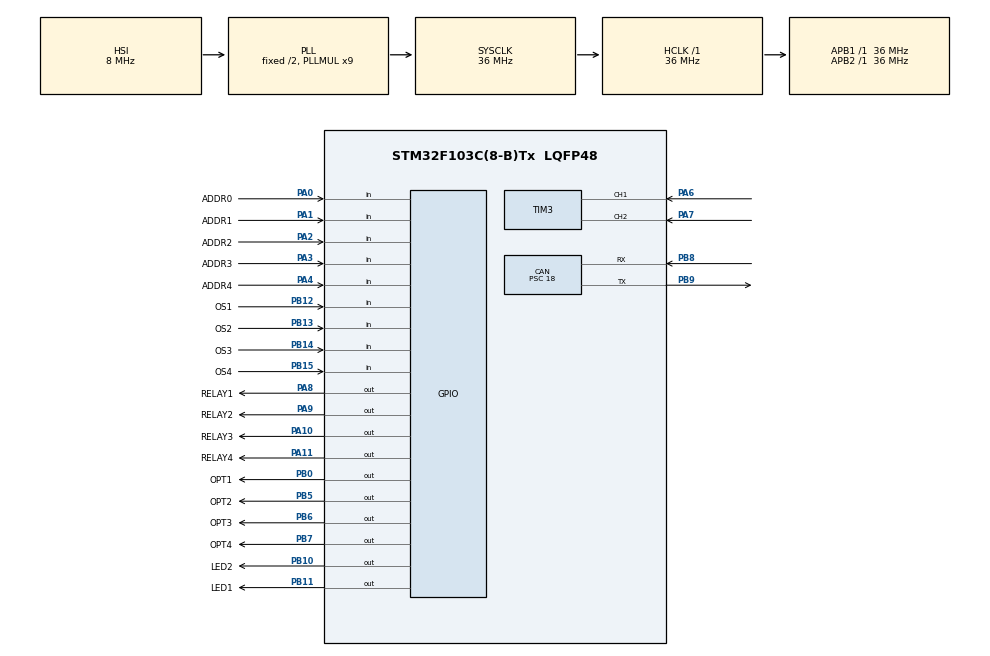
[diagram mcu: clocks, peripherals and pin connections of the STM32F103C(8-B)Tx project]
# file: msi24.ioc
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CAN.ABOM=ENABLE
CAN.AWUM=ENABLE
CAN.BS1=CAN_BS1_13TQ
CAN.BS2=CAN_BS2_2TQ
CAN.CalculateBaudRate=125000
CAN.CalculateTimeBit=8000
CAN.CalculateTimeQuantum=500.0
CAN.Mode=CAN_MODE_SILENT
CAN.Prescaler=18
CAN.TXFP=ENABLE
Mcu.Family=STM32F1
Mcu.Name=STM32F103C(8-B)Tx
Mcu.Package=LQFP48
NVIC.CAN1_RX1_IRQn=true\:0\:0\:false\:false\:true\:true\:true\:true
NVIC.CAN1_SCE_IRQn=true\:0\:0\:false\:false\:true\:true\:true\:true
NVIC.PriorityGroup=NVIC_PRIORITYGROUP_4
NVIC.USB_LP_CAN1_RX0_IRQn=true\:0\:0\:false\:false\:true\:true\:true\:true
PA0-WKUP.GPIO_Label=ADDR0
PA0-WKUP.GPIO_PuPd=GPIO_PULLUP
PA0-WKUP.Signal=GPIO_Input
PA1.GPIO_Label=ADDR1
PA1.GPIO_PuPd=GPIO_PULLUP
PA1.Signal=GPIO_Input
PA10.GPIO_Label=RELAY3
PA10.Signal=GPIO_Output
PA11.GPIO_Label=RELAY4
PA11.Signal=GPIO_Output
PA13.Mode=Serial_Wire
PA13.Signal=SYS_JTMS-SWDIO
PA14.Mode=Serial_Wire
PA14.Signal=SYS_JTCK-SWCLK
PA2.GPIO_Label=ADDR2
PA2.GPIO_PuPd=GPIO_PULLUP
PA2.Signal=GPIO_Input
PA3.GPIO_Label=ADDR3
PA3.GPIO_PuPd=GPIO_PULLUP
PA3.Signal=GPIO_Input
PA4.GPIO_Label=ADDR4
PA4.GPIO_PuPd=GPIO_PULLUP
PA4.Signal=GPIO_Input
PA6.Signal=S_TIM3_CH1
PA7.Signal=S_TIM3_CH2
PA8.GPIO_Label=RELAY1
PA8.Signal=GPIO_Output
PA9.GPIO_Label=RELAY2
PA9.Signal=GPIO_Output
PB0.GPIO_Label=OPT1
PB0.Signal=GPIO_Output
PB10.GPIO_Label=LED2
PB10.Signal=GPIO_Output
PB11.GPIO_Label=LED1
PB11.Signal=GPIO_Output
PB12.GPIO_Label=OS1
PB12.Signal=GPIO_Input
PB13.GPIO_Label=OS2
PB13.Signal=GPIO_Input
PB14.GPIO_Label=OS3
PB14.Signal=GPIO_Input
PB15.GPIO_Label=OS4
PB15.Signal=GPIO_Input
PB5.GPIO_Label=OPT2
PB5.Signal=GPIO_Output
PB6.GPIO_Label=OPT3
PB6.Signal=GPIO_Output
PB7.GPIO_Label=OPT4
PB7.Signal=GPIO_Output
PB8.Mode=CAN_Activate
PB8.Signal=CAN_RX
PB9.Mode=CAN_Activate
PB9.Signal=CAN_TX
PD0-OSC_IN.Mode=HSE-External-Oscillator
PD0-OSC_IN.Signal=RCC_OSC_IN
PD1-OSC_OUT.Mode=HSE-External-Oscillator
PD1-OSC_OUT.Signal=RCC_OSC_OUT
ProjectManager.HeapSize=0x200
ProjectManager.StackSize=0x400
ProjectManager.TargetToolchain=MDK-ARM V5.32
RCC.AHBFreq_Value=36000000
RCC.APB1Freq_Value=36000000
RCC.APB1TimFreq_Value=36000000
RCC.APB2Freq_Value=36000000
RCC.APB2TimFreq_Value=36000000
RCC.HCLKFreq_Value=36000000
RCC.PLLMUL=RCC_PLL_MUL9
RCC.SYSCLKFreq_VALUE=36000000
RCC.SYSCLKSource=RCC_SYSCLKSOURCE_PLLCLK
RCC.USBFreq_Value=36000000
SH.S_TIM3_CH1.0=TIM3_CH1,Input_Capture1_from_TI1
SH.S_TIM3_CH2.0=TIM3_CH2,Input_Capture2_from_TI2
TIM3.Channel-Input_Capture1_from_TI1=TIM_CHANNEL_1
TIM3.Channel-Input_Capture2_from_TI2=TIM_CHANNEL_2
board=custom

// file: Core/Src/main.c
/* USER CODE BEGIN Header */
/**
  ******************************************************************************
  * @file           : main.c
  * @brief          : Main program body
  ******************************************************************************
  * @attention
  *
  * Copyright (c) 2024 STMicroelectronics.
  * All rights reserved.
  *
  * This software is licensed under terms that can be found in the LICENSE file
  * in the root directory of this software component.
  * If no LICENSE file comes with this software, it is provided AS-IS.
  *
  ******************************************************************************
  */
/* USER CODE END Header */
#include "main.h"
#include "can.h"
#include "tim.h"
#include "gpio.h"

/* USER CODE BEGIN Includes */
#include "time64.h"
/* USER CODE END Includes */

/* USER CODE BEGIN PD */
#define ITM_Port8(n)    (*((volatile unsigned char *)(0xE0000000+4*n)))
#define ITM_Port16(n)   (*((volatile unsigned short*)(0xE0000000+4*n)))
#define ITM_Port32(n)   (*((volatile unsigned long *)(0xE0000000+4*n)))

#define DEMCR           (*((volatile unsigned long *)(0xE000EDFC)))
#define TRCENA          0x01000000
/* USER CODE END PD */

/* USER CODE BEGIN PV */
TMyFlags g_MyFlags;  //инициализация битового поля со статусами

uint64_t UNIX_Time64 = 0;
struct TM TimeStamp; //структура с временем из time54.h
/* USER CODE END PV */

void SystemClock_Config(void);
/* USER CODE BEGIN PFP */
uint32_t calc_time (MESSAGE_A_t * );
/* USER CODE END PFP */

/* USER CODE BEGIN 0 */
//struct __FILE { int handle;};
FILE __stdout;
FILE __stdin;

//-----------------------------------ф-я отправки сообщения дебага--------------------------//
int fputc(int ch, FILE *f)
{
  if (DEMCR & TRCENA)
	{
    while (ITM_Port32(0) == 0) {};
    ITM_Port8(0) = ch;
  }
  return(ch);
}
/* USER CODE END 0 */

int main(void)
{

  /* MCU Configuration--------------------------------------------------------*/

  /* Reset of all peripherals, Initializes the Flash interface and the Systick. */
  HAL_Init();

  /* Configure the system clock */
  SystemClock_Config();

  /* Initialize all configured peripherals */
  MX_GPIO_Init();
  MX_CAN_Init();
  MX_TIM3_Init();
  /* USER CODE BEGIN 2 */

	#ifdef __USE_DBG
		printf ("start\r\n");
	#endif

	SWITCH_RELAY1(0);
	SWITCH_RELAY2(0);
	SWITCH_RELAY3(0);
	SWITCH_RELAY4(0);

	SWITCH_OPT1(0);
	SWITCH_OPT2(0);
	SWITCH_OPT3(0);
	SWITCH_OPT4(0);

	LED_GREEN(0);
	LED_RED(1);

	HAL_Delay(500);

  /* USER CODE END 2 */

  /* Infinite loop */
  while (1)
  {

    /* USER CODE BEGIN 3 */

		TOOGLE_GREEN_LED();
		TOOGLE_RED_LED();

		#ifdef __USE_DBG
		for (uint8_t count = 0; count < 100; count++)
		{
			if (CAN_flag_RX == RX_A1)
			{
			//	UNIX_Time64 = (calc_time (&MESSAGE_A)) + 946684800;
			//	printf ("timeUNIX=%llu\r\n", UNIX_Time64);
				printf ("time=%u\r\n", calc_time (&MESSAGE_A));
				CAN_flag_RX = RX_NONE;
			}
			HAL_Delay(5);
		}
		#endif

	//	HAL_Delay(500);
  }
  /* USER CODE END 3 */
}

void SystemClock_Config(void)
{
  RCC_OscInitTypeDef RCC_OscInitStruct = {0};
  RCC_ClkInitTypeDef RCC_ClkInitStruct = {0};

  /** Initializes the RCC Oscillators according to the specified parameters
  * in the RCC_OscInitTypeDef structure.
  */
  RCC_OscInitStruct.OscillatorType = RCC_OSCILLATORTYPE_HSI;
  RCC_OscInitStruct.HSIState = RCC_HSI_ON;
  RCC_OscInitStruct.HSICalibrationValue = RCC_HSICALIBRATION_DEFAULT;
  RCC_OscInitStruct.PLL.PLLState = RCC_PLL_ON;
  RCC_OscInitStruct.PLL.PLLSource = RCC_PLLSOURCE_HSI_DIV2;
  RCC_OscInitStruct.PLL.PLLMUL = RCC_PLL_MUL9;
  if (HAL_RCC_OscConfig(&RCC_OscInitStruct) != HAL_OK)
  {
    Error_Handler();
  }

  /** Initializes the CPU, AHB and APB buses clocks
  */
  RCC_ClkInitStruct.ClockType = RCC_CLOCKTYPE_HCLK|RCC_CLOCKTYPE_SYSCLK
                              |RCC_CLOCKTYPE_PCLK1|RCC_CLOCKTYPE_PCLK2;
  RCC_ClkInitStruct.SYSCLKSource = RCC_SYSCLKSOURCE_PLLCLK;
  RCC_ClkInitStruct.AHBCLKDivider = RCC_SYSCLK_DIV1;
  RCC_ClkInitStruct.APB1CLKDivider = RCC_HCLK_DIV1;
  RCC_ClkInitStruct.APB2CLKDivider = RCC_HCLK_DIV1;

  if (HAL_RCC_ClockConfig(&RCC_ClkInitStruct, FLASH_LATENCY_1) != HAL_OK)
  {
    Error_Handler();
  }
}

/* USER CODE BEGIN 4 */
uint32_t calc_time (MESSAGE_A_t * ptr)
{
	uint32_t time2k = 0;
	time2k = ((ptr->Type1.time2k_0 << 0) |  (ptr->Type1.time2k_1 << 8) | (ptr->Type1.time2k_2 << 16) |  (ptr->Type1.time2k_3 << 24));
	return time2k;
}

/* USER CODE END 4 */

void Error_Handler(void)
{
  __disable_irq();
  while (1)
  {
  }
}
